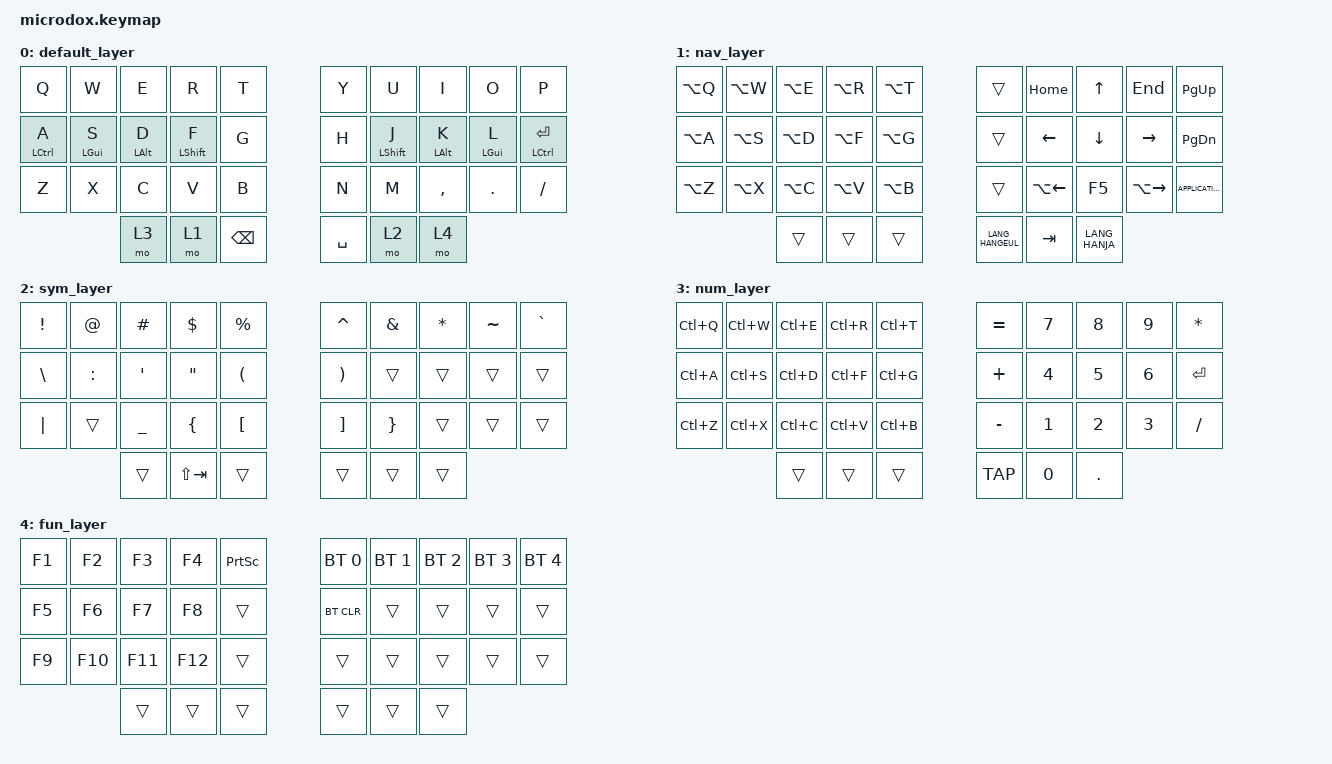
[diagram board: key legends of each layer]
/*
 * Copyright (c) 2020 The ZMK Contributors
 *
 * SPDX-License-Identifier: MIT
 */

#include <behaviors.dtsi>
#include <dt-bindings/zmk/keys.h>
#include <dt-bindings/zmk/bt.h>

&mt {
    retro-tap;
};

/ {
    behaviors {
        hm: homerow_mods {
            compatible = "zmk,behavior-hold-tap";
            label = "HOMEROW_MODS";
            #binding-cells = <2>;
            tapping-term-ms = <250>;
            quick_tap_ms = <0>;
            flavor = "tap-preferred";
            bindings = <&kp>, <&kp>;
        };
    };
    macros {
        book_cap: book_cap {
            compatible = "zmk,behavior-macro";
            label = "Shift+Win+3, Enter, Right Arrow";
            tap-ms = <10>;
            bindings = <&kp LS(LWIN(KC_3)) &wait-ms 300 &kp KC_ENTER &wait-ms 300 &kp KC_RIGHT &wait-ms 4500>;
        };
    };
    combos {
        compatible = "zmk,combos";
        combo_esc {
            timeout-ms = <80>;
            key-positions = <0 1>;
            bindings = <&kp ESC>;
        };
        combo_mute {
            timeout-ms = <80>;
            key-positions = <3 4>;
            bindings = <&kp C_MUTE>;
        };
        combo_LGUI {
            timeout-ms = <80>;
            key-positions = <20 21>;
            bindings = <&kp LGUI>;
        };
        combo_semicolon {
            timeout-ms = <80>;
            key-positions = <27 28>;
            bindings = <&kp SEMI>;
        };
        combo_closeWin {
            timeout-ms = <80>;
            key-positions = <28 29>;
            bindings = <&kp LC(W)>;
        };
        combo_CapsLock {
            timeout-ms = <30>;
            key-positions = <10 11>;
            bindings = <&kp CAPS>;
        };
        combo_Insert {
            timeout-ms = <30>;
            key-positions = <8 9>;
            bindings = <&kp INS>;
        };
        combo_leftchange {
            timeout-ms = <30>;
            key-positions = <12 13>;
            bindings = <&kp LC(LG(LEFT))>;
        };
        combo_rightchange {
            timeout-ms = <30>;
            key-positions = <16 17>;
            bindings = <&kp LC(LG(RIGHT))>;
        };
        combo_winTAB {
            timeout-ms = <30>;
            key-positions = <14 15>;
            bindings = <&kp LG(TAB)>;
        };
        combo_Explorer {
            timeout-ms = <80>;
            key-positions = <18 19>;
            bindings = <&kp LG(E)>;
        };
        combo_undo {
            timeout-ms = <30>;
            key-positions = <23 24>;
            bindings = <&kp LC(Z)>;
        };
        combo_redo {
            timeout-ms = <30>;
            key-positions = <25 26>;
            bindings = <&kp LS(LC(Z))>;
        };
        combo_BT1 {
            timeout-ms = <80>;
            key-positions = <5 29>;
            bindings = <&bt BT_SEL 0>;
        };
        combo_BT2 {
            timeout-ms = <80>;
            key-positions = <6 29>;
            bindings = <&bt BT_SEL 1>;
        };
        combo_BT3 {
            timeout-ms = <80>;
            key-positions = <7 29>;
            bindings = <&bt BT_SEL 2>;
        };
        combo_BT4 {
            timeout-ms = <80>;
            key-positions = <8 29>;
            bindings = <&bt BT_SEL 3>;
        };
        combo_BT5 {
            timeout-ms = <80>;
            key-positions = <9 29>;
            bindings = <&bt BT_SEL 4>;
        };
        combo_BTclr {
            timeout-ms = <80>;
            key-positions = <15 29>;
            bindings = <&bt BT_CLR>;
        };
    };
};

/ {
        keymap {
                compatible = "zmk,keymap";

                default_layer {
// -----------------------------------------------------------------------------------------
// |  Q  |  W  |  E  |  R  |  T   |   |  Y  |  U   |  I  |  O  |  P  |
// |  A  |  S  |  D  |  F  |  G   |   |  H  |  J   |  K  |  L  | ENT |
// |  Z  |  X  |  C  |  V  |  B   |   |  N  |  M   |  ,  |  .  |  /  |
//             | NUM | NAV | BKSP |   | SPC | SYM  | FUN |
                        bindings = <
   &kp Q &kp W &kp E &kp R &kp T    &kp Y &kp U &kp I &kp O &kp P
   &hm LCTRL A &hm LGUI S &hm LALT D &hm LSHIFT F &kp G &kp H &hm LSHIFT J &hm LALT K &hm LGUI L &hm LCTRL RET
   &kp Z &kp X &kp C &kp V &kp B    &kp N &kp M &kp COMMA &kp DOT &kp FSLH
        &mo 3 &mo 1 &kp BSPC    &kp SPACE &mo 2 &mo 4
                        >;
                };
                nav_layer {
// -----------------------------------------------------------------------------------------
// |alt-Q|alt-W|alt-E|alt-R|alt-T|   |     | HOME |  UP  | END | PGUP |
// |alt-A|alt-S|alt-D|alt-F|alt-G|   |     | LEFT | DOWN | RGT | PGDN |
// |alt-Z|alt-X|alt-C|alt-V|alt-B|   |     | PREV |  F5  | NEXT| menu |
//             |     |     |     |   | KOR | TAB  | HANJA|
                        bindings = <
   &kp LA(Q) &kp LA(W) &kp LA(E) &kp LA(R) &kp LA(T)    &trans &kp HOME &kp UP &kp END &kp PG_UP
   &kp LA(A) &kp LA(S) &kp LA(D) &kp LA(F) &kp LA(G)    &trans &kp LEFT &kp DOWN &kp RIGHT &kp PG_DN
   &kp LA(Z) &kp LA(X) &kp LA(C) &kp LA(V) &kp LA(B)    &trans &kp LA(LEFT) &kp F5 &kp LA(RIGHT) &kp K_APPLICATION
        &trans &trans &trans    &kp LANG_HANGEUL &kp TAB &kp LANG_HANJA
                        >;
                };
                sym_layer {
// -----------------------------------------------------------------------------------------
// |  !  |  @  |  #  |  $  |  %  |   |  ^  |  &  |  *  |  ~  |  `  |
// |  \  |  :  |  '  |  "  |  (  |   |  )  |     |     |     |     |
// |  |  |     |  _  |  {  |  [  |   |  ]  |  }  |     |     |     |
//             |     |S-TAB|     |   |     |     |     |
                        bindings = <
   &kp EXCL &kp AT &kp HASH &kp DLLR &kp PRCNT  &kp CARET &kp AMPS &kp ASTRK &kp TILDE &kp GRAVE
   &kp BSLH &kp COLON &kp SQT &kp DQT &kp LPAR  &kp RPAR &trans &trans &trans &trans
   &kp PIPE &trans &kp UNDER &kp LBRC &kp LBKT  &kp RBKT &kp RBRC &trans &trans &trans
        &trans &kp LS(TAB) &trans   &trans &trans &trans
                        >;
                };

// This layer is unreachable until "tri layer state" is sorted out.
// Leaving it here for completeness.
                num_layer {
// -----------------------------------------------------------------------------------------
// |Ctr-Q|Ctr-W|Ctr-E|Ctr-R|Ctr-T|   |  =  |  7  |  8  |  9  |  *  |
// |Ctr-A|Ctr-S|Ctr-D|Ctr-F|Ctr-G|   |  +  |  4  |  5  |  6  | ENT |
// |Ctr-Z|Ctr-X|Ctr-C|Ctr-V|Ctr-B|   |  -  |  1  |  2  |  3  |  /  |
//             |     |     |     |   | TAP |  0  |  .  |
                        bindings = <
   &kp LC(Q) &kp LC(W) &kp LC(E) &kp LC(R) &kp LC(T)    &kp EQUAL &kp N7 &kp N8 &kp N9 &kp ASTRK
   &kp LC(A) &kp LC(S) &kp LC(D) &kp LC(F) &kp LC(G)    &kp PLUS &kp N4 &kp N5 &kp N6 &kp RET
   &kp LC(Z) &kp LC(X) &kp LC(C) &kp LC(V) &kp LC(B)    &kp MINUS &kp N1 &kp N2 &kp N3 &kp FSLH
        &trans &trans &trans    &kp TAP &kp N0 &kp DOT
                        >;
                };                
                fun_layer {
// -----------------------------------------------------------------------------------------
// | F1  | F2  | F3  | F4  | PrSc|   | BT1 | BT2 | BT3 | BT4 | BT5 |
// | F5  | F6  | F7  | F8  |     |   |BTclr|     |     |     |     |
// | F9  | F10 | F11 | F12 |     |   |     |     |     |     |     |
//             |     |     |     |   |     |     |     |
                        bindings = <
   &kp F1 &kp F2 &kp F3 &kp F4 &kp PRINTSCREEN  &bt BT_SEL 0 &bt BT_SEL 1 &bt BT_SEL 2 &bt BT_SEL 3 &bt BT_SEL 4
   &kp F5 &kp F6 &kp F7 &kp F8 &trans   &bt BT_CLR &trans &trans &trans &trans
   &kp F9 &kp F10 &kp F11 &kp F12 &trans    &trans &trans &trans &trans &trans
        &trans &trans &trans    &trans &trans &trans
                        >;
                };
        };
};

&kp KC_A {
    bindings = <&book_cap>;
};
